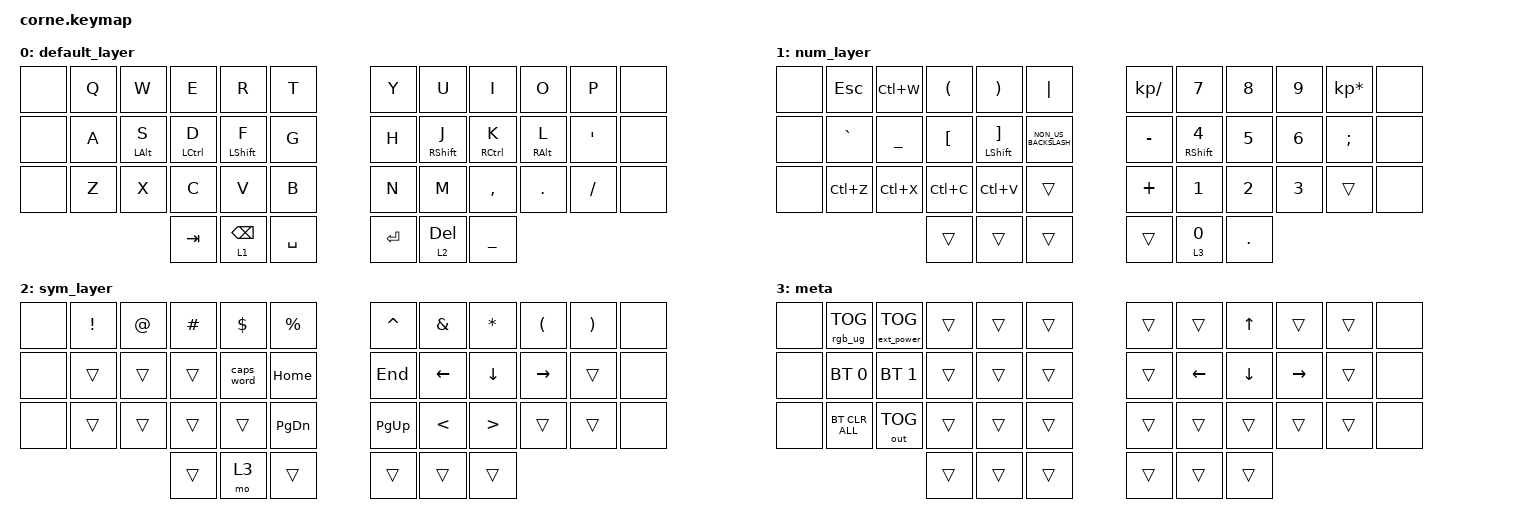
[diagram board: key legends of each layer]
/*
 * Copyright (c) 2020 The ZMK Contributors
 *
 * SPDX-License-Identifier: MIT
 */

#include <behaviors.dtsi>
#include <dt-bindings/zmk/bt.h>
#include <dt-bindings/zmk/ext_power.h>
#include <dt-bindings/zmk/keys.h>
#include <dt-bindings/zmk/outputs.h>
#include <dt-bindings/zmk/rgb.h>

&led_strip { chain-length = <27>; };

/ {
    behaviors {
        hm: balanced_homerow_mod {
            compatible = "zmk,behavior-hold-tap";
            label = "BALANCED_HOMEROW_MOD";
            bindings = <&kp>, <&kp>;

            #binding-cells = <2>;
            tapping-term-ms = <200>;
            quick-tap-ms = <0>;
            flavor = "balanced";
        };
    };

    keymap {
        compatible = "zmk,keymap";

        default_layer {
            // -----------------------------------------------------------------------------------------
            // |  TAB |  Q  |  W  |  E  |  R  |  T  |   |  Y  |  U   |  I  |  O  |  P  | BKSP |
            // | CTRL |  A  |  S  |  D  |  F  |  G  |   |  H  |  J   |  K  |  L  |  ;  |  '   |
            // | SHFT |  Z  |  X  |  C  |  V  |  B  |   |  N  |  M   |  ,  |  .  |  /  | ESC  |
            //                    | GUI | LWR | SPC |   | ENT | RSE  | ALT |

            bindings = <
&none  &kp Q  &kp W           &kp E        &kp R             &kp T        &kp Y    &kp U              &kp I        &kp O            &kp P             &none
&none  &kp A  &hm LEFT_ALT S  &hm LCTRL D  &hm LEFT_SHIFT F  &kp G        &kp H    &hm RIGHT_SHIFT J  &hm RCTRL K  &hm RIGHT_ALT L  &kp SINGLE_QUOTE  &none
&none  &kp Z  &kp X           &kp C        &kp V             &kp B        &kp N    &kp M              &kp COMMA    &kp DOT          &kp FSLH          &none
                              &kp TAB      &lt 1 BACKSPACE   &kp SPACE    &kp RET  &lt 2 DEL          &kp UNDER
            >;
        };

        num_layer {
            // -----------------------------------------------------------------------------------------
            // |  TAB |  1  |  2  |  3  |  4  |  5  |   |  6  |  7  |  8  |  9  |  0  | BKSP |
            // | BTCLR| BT1 | BT2 | BT3 | BT4 | BT5 |   | LFT | DWN |  UP | RGT |     |      |
            // | SHFT |     |     |     |     |     |   |     |     |     |     |     |RGBTOG|
            //                    | GUI |     | SPC |   | ENT |     | ALT |

            bindings = <
&none  &kp ESCAPE  &kp LC(W)  &kp LEFT_PARENTHESIS  &kp RIGHT_PARENTHESIS         &kp PIPE                &kp KP_DIVIDE  &kp N7                    &kp N8        &kp N9        &kp KP_MULTIPLY  &none
&none  &kp GRAVE   &kp UNDER  &kp LEFT_BRACKET      &hm LEFT_SHIFT RIGHT_BRACKET  &kp NON_US_BACKSLASH    &kp MINUS      &hm RIGHT_SHIFT NUMBER_4  &kp NUMBER_5  &kp NUMBER_6  &kp SEMICOLON    &none
&none  &kp LC(Z)   &kp LC(X)  &kp LC(C)             &kp LC(V)                     &trans                  &kp PLUS       &kp NUMBER_1              &kp NUMBER_2  &kp NUMBER_3  &trans           &none
                              &trans                &trans                        &trans                  &trans         &lt 3 NUMBER_0            &kp DOT
            >;
        };

        sym_layer {
            // -----------------------------------------------------------------------------------------
            // |  TAB |  !  |  @  |  #  |  $  |  %  |   |  ^  |  &  |  *  |  (  |  )  | BKSP |
            // | CTRL |     |     |     |     |     |   |  -  |  =  |  [  |  ]  |  \  |  `   |
            // | SHFT |     |     |     |     |     |   |  _  |  +  |  {  |  }  | "|" |  ~   |
            //                    | GUI |     | SPC |   | ENT |     | ALT |

            bindings = <
&none  &kp EXCLAMATION  &kp AT_SIGN  &kp HASH  &kp DOLLAR  &kp PERCENT      &kp CARET    &kp AMPERSAND   &kp ASTERISK      &kp LEFT_PARENTHESIS  &kp RIGHT_PARENTHESIS  &none
&none  &trans           &trans       &trans    &caps_word  &kp HOME         &kp END      &kp LEFT_ARROW  &kp DOWN_ARROW    &kp RIGHT_ARROW       &trans                 &none
&none  &trans           &trans       &trans    &trans      &kp PAGE_DOWN    &kp PAGE_UP  &kp LESS_THAN   &kp GREATER_THAN  &trans                &trans                 &none
                                     &trans    &mo 3       &trans           &trans       &trans          &trans
            >;
        };

        meta {
            bindings = <
&none  &rgb_ug RGB_TOG  &ext_power EP_TOG  &trans  &trans  &trans    &trans  &trans          &kp UP_ARROW    &trans           &trans  &none
&none  &bt BT_SEL 0     &bt BT_SEL 1       &trans  &trans  &trans    &trans  &kp LEFT_ARROW  &kp DOWN_ARROW  &kp RIGHT_ARROW  &trans  &none
&none  &bt BT_CLR_ALL   &out OUT_TOG       &trans  &trans  &trans    &trans  &trans          &trans          &trans           &trans  &none
                                           &trans  &trans  &trans    &trans  &trans          &trans
            >;
        };
    };
};
